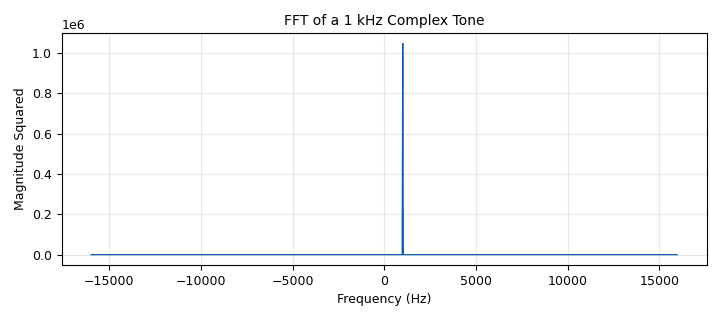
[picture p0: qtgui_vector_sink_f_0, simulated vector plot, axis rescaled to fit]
options:
  parameters:
    author: Dhrubjun
    generate_options: qt_gui
    id: exp6
    output_language: python
    title: FFT
  states: {}

blocks:
- name: samp_rate
  id: variable
  parameters:
    value: '32000'
  states: {}
- name: analog_sig_source_x_0
  id: analog_sig_source_x
  parameters:
    amp: '1'
    freq: '1000'
    offset: '0'
    phase: '0'
    samp_rate: samp_rate
    type: complex
    waveform: analog.GR_COS_WAVE
  states: {}
- name: blocks_complex_to_mag_squared_0
  id: blocks_complex_to_mag_squared
  parameters:
    vlen: '1024'
  states: {}
- name: blocks_stream_to_vector_0
  id: blocks_stream_to_vector
  parameters:
    num_items: '1024'
    type: complex
  states: {}
- name: blocks_throttle2_0
  id: blocks_throttle2
  parameters:
    samples_per_second: samp_rate
    type: complex
  states: {}
- name: fft_vxx_0
  id: fft_vxx
  parameters:
    fft_size: '1024'
    forward: 'True'
    shift: 'True'
    type: complex
    window: window.rectangular(1024)
  states: {}
- name: qtgui_vector_sink_f_0
  id: qtgui_vector_sink_f
  parameters:
    grid: 'True'
    name: FFT of a 1 kHz Complex Tone
    vlen: '1024'
    width1: '2'
    x_axis_label: Frequency (Hz)
    x_start: '-16000'
    x_step: '31.25'
    x_units: Hz
    y_axis_label: Magnitude Squared
    ymax: '100'
    ymin: '-1'
  states: {}

connections:
- [analog_sig_source_x_0, '0', blocks_throttle2_0, '0']
- [blocks_complex_to_mag_squared_0, '0', qtgui_vector_sink_f_0, '0']
- [blocks_stream_to_vector_0, '0', fft_vxx_0, '0']
- [blocks_throttle2_0, '0', blocks_stream_to_vector_0, '0']
- [fft_vxx_0, '0', blocks_complex_to_mag_squared_0, '0']

metadata:
  file_format: 1
  grc_version: 3.10.12.0
